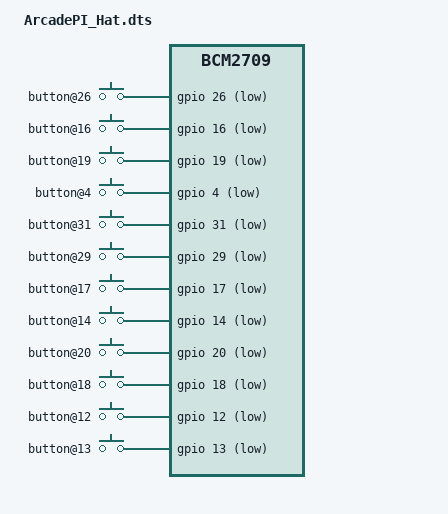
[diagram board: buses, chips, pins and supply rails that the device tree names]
/dts-v1/;
/plugin/;
/ {
    compatible = "brcm,bcm2835", "brcm,bcm2708", "brcm,bcm2709";
    #address-cells = <1>;
    #size-cells = <0>;

    fragment@0 {
        reg = <0>;
        target = <&gpio>;
        __overlay__ {
            pins {
                brcm,pins = <4 19 16 26 14 15 20 18 17 31 13 29 12>;
                brcm,function = <0>;
                brcm,pull = <2>;
            };
        };
    };

    fragment@1 {
        reg = <1>;
        target-path = "/soc";
        __overlay__ {
            buttons {
                compatible = "gpio-keys";
                #address-cells = <1>;
                #size-cells = <0>;

                button@26 { // Player 1 Down
                    reg = <26>;
                    gpios = <&gpio 26 1>;
                    linux,code = <108>;
                };
                button@16 { // Player 1 Up
                    reg = <16>;
                    gpios = <&gpio 16 1>;
                    linux,code = <103>;
                };
                button@19 { // Player 1 Right
                    reg = <19>;
                    gpios = <&gpio 19 1>;
                    linux,code = <106>;
                };
                button@4 { // Player 1 Left
                    reg = <4>;
                    gpios = <&gpio 4 1>;
                    linux,code = <105>;
                };
                button@31 { // Player 1 Start
                    reg = <31>;
                    gpios = <&gpio 31 1>;
                    linux,code = <28>;
                };
                button@29 { // Player 1 Select
                    reg = <29>;
                    gpios = <&gpio 29 1>;
                    linux,code = <54>;
                };
                button@17 { // Player 1 A
                    reg = <17>;
                    gpios = <&gpio 17 1>;
                    linux,code = <45>;
                };
                button@14 { // Player 1 B
                    reg = <14>;
                    gpios = <&gpio 14 1>;
                    linux,code = <44>;
                };
                button@20 { // Player 1 X
                    reg = <20>;
                    gpios = <&gpio 20 1>;
                    linux,code = <31>;
                };
                button@18 { // Player 1 Y
                    reg = <18>;
                    gpios = <&gpio 18 1>;
                    linux,code = <30>;
                };
                button@12 { // Player 1 L
                    reg = <12>;
                    gpios = <&gpio 12 1>;
                    linux,code = <16>;
                };
                button@13 { // Player 1 R
                    reg = <13>;
                    gpios = <&gpio 13 1>;
                    linux,code = <17>;
                };
                button@17 { // Player 1 Hotkey
                    reg = <17>;
                    gpios = <&gpio 17 1>;
                    linux,code = <60>; // Exemple de code pour le Hotkey
                };
            };
        };
    };
};
